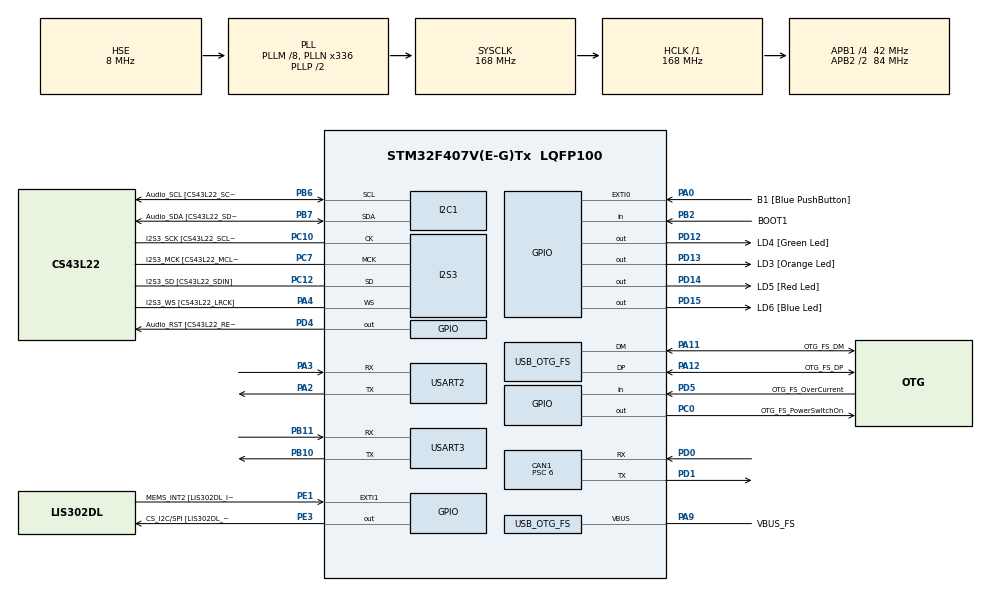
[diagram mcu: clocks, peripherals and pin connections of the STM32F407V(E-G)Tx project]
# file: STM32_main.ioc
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CAN1.BS1=CAN_BS1_11TQ
CAN1.BS2=CAN_BS2_2TQ
CAN1.CalculateBaudRate=500000
CAN1.CalculateTimeBit=2000
CAN1.CalculateTimeQuantum=142.85714285714286
CAN1.Prescaler=6
I2S3.AudioFreq-Half_Duplex_Master=I2S_AUDIOFREQ_96K
I2S3.ErrorAudioFreq=-2.34 %
I2S3.ErrorAudioFreq-Half_Duplex_Master=0.8 %
I2S3.FullDuplexMode=I2S_FULLDUPLEXMODE_DISABLE
I2S3.Instance=SPI$Index
I2S3.RealAudioFreq=93.75 KHz
I2S3.RealAudioFreq-Half_Duplex_Master=96.774 KHz
I2S3.VirtualMode=I2S_MODE_MASTER
Mcu.Family=STM32F4
Mcu.Name=STM32F407V(E-G)Tx
Mcu.Package=LQFP100
NVIC.CAN1_RX0_IRQn=true\:0\:0\:false\:false\:true\:true\:true\:true
NVIC.OTG_FS_IRQn=true\:0\:0\:false\:false\:true\:true\:true\:true
NVIC.PriorityGroup=NVIC_PRIORITYGROUP_0
NVIC.USART3_IRQn=true\:0\:0\:false\:false\:true\:true\:true\:true
PA0-WKUP.GPIO_Label=B1 [Blue PushButton]
PA0-WKUP.GPIO_ModeDefaultEXTI=GPIO_MODE_EVT_RISING
PA0-WKUP.GPIO_PuPd=GPIO_NOPULL
PA0-WKUP.Signal=GPXTI0
PA10.GPIO_Label=OTG_FS_ID
PA10.GPIO_Mode=GPIO_MODE_AF_PP
PA10.GPIO_PuPd=GPIO_NOPULL
PA10.GPIO_Speed=GPIO_SPEED_FREQ_LOW
PA10.Signal=USB_OTG_FS_ID
PA11.GPIO_Label=OTG_FS_DM
PA11.GPIO_Mode=GPIO_MODE_AF_PP
PA11.GPIO_PuPd=GPIO_NOPULL
PA11.GPIO_Speed=GPIO_SPEED_FREQ_LOW
PA11.Mode=Host_Only
PA11.Signal=USB_OTG_FS_DM
PA12.GPIO_Label=OTG_FS_DP
PA12.GPIO_Mode=GPIO_MODE_AF_PP
PA12.GPIO_PuPd=GPIO_NOPULL
PA12.GPIO_Speed=GPIO_SPEED_FREQ_LOW
PA12.Mode=Host_Only
PA12.Signal=USB_OTG_FS_DP
PA13.GPIO_Label=SWDIO
PA13.Mode=Serial_Wire
PA13.Signal=SYS_JTMS-SWDIO
PA14.GPIO_Label=SWCLK
PA14.Mode=Serial_Wire
PA14.Signal=SYS_JTCK-SWCLK
PA2.Mode=Asynchronous
PA2.Signal=USART2_TX
PA3.Mode=Asynchronous
PA3.Signal=USART2_RX
PA4.GPIO_Label=I2S3_WS [CS43L22_LRCK]
PA4.GPIO_Mode=GPIO_MODE_AF_PP
PA4.GPIO_PuPd=GPIO_NOPULL
PA4.GPIO_Speed=GPIO_SPEED_FREQ_LOW
PA4.Mode=Half_Duplex_Master
PA4.Signal=I2S3_WS
PA5.GPIO_Label=SPI1_SCK [LIS302DL_SCL/SPC]
PA5.GPIO_Mode=GPIO_MODE_AF_PP
PA5.GPIO_PuPd=GPIO_NOPULL
PA5.GPIO_Speed=GPIO_SPEED_FREQ_LOW
PA5.Signal=SPI1_SCK
PA6.GPIO_Label=SPI1_MISO [LIS302DL_SDO]
PA6.GPIO_Mode=GPIO_MODE_AF_PP
PA6.GPIO_PuPd=GPIO_NOPULL
PA6.GPIO_Speed=GPIO_SPEED_FREQ_LOW
PA6.Signal=SPI1_MISO
PA7.GPIO_Label=SPI1_MOSI [LIS302DL_SDA/SDI/SDO]
PA7.GPIO_Mode=GPIO_MODE_AF_PP
PA7.GPIO_PuPd=GPIO_NOPULL
PA7.GPIO_Speed=GPIO_SPEED_FREQ_LOW
PA7.Signal=SPI1_MOSI
PA9.GPIO_Label=VBUS_FS
PA9.GPIO_Mode=GPIO_MODE_INPUT
PA9.GPIO_PuPd=GPIO_NOPULL
PA9.Mode=Activate_VBUS
PA9.Signal=USB_OTG_FS_VBUS
PB10.Mode=Asynchronous
PB10.Signal=USART3_TX
PB11.GPIO_PuPd=GPIO_PULLUP
PB11.Mode=Asynchronous
PB11.Signal=USART3_RX
PB2.GPIO_Label=BOOT1
PB2.GPIO_Mode=GPIO_MODE_INPUT
PB2.GPIO_PuPd=GPIO_NOPULL
PB2.Signal=GPIO_Input
PB3.GPIO_Label=SWO
PB3.Signal=SYS_JTDO-SWO
PB6.GPIO_Label=Audio_SCL [CS43L22_SCL]
PB6.GPIO_Mode=GPIO_MODE_AF_OD
PB6.GPIO_Pu=GPIO_PULLUP
PB6.GPIO_PuPd=GPIO_NOPULL
PB6.GPIO_Speed=GPIO_SPEED_FREQ_LOW
PB6.Mode=I2C
PB6.Signal=I2C1_SCL
PB7.GPIO_Label=Audio_SDA [CS43L22_SDA]
PB7.GPIO_Mode=GPIO_MODE_AF_OD
PB7.GPIO_Pu=GPIO_PULLUP
PB7.GPIO_Speed=GPIO_SPEED_FREQ_LOW
PB7.Mode=I2C
PB7.Signal=I2C1_SDA
PC0.GPIO_Label=OTG_FS_PowerSwitchOn
PC0.GPIO_PuPd=GPIO_NOPULL
PC0.GPIO_Speed=GPIO_SPEED_FREQ_LOW
PC0.PinState=GPIO_PIN_SET
PC0.Signal=GPIO_Output
PC10.GPIO_Label=I2S3_SCK [CS43L22_SCLK]
PC10.GPIO_Mode=GPIO_MODE_AF_PP
PC10.GPIO_PuPd=GPIO_NOPULL
PC10.GPIO_Speed=GPIO_SPEED_FREQ_LOW
PC10.Mode=Half_Duplex_Master
PC10.Signal=I2S3_CK
PC12.GPIO_Label=I2S3_SD [CS43L22_SDIN]
PC12.GPIO_Mode=GPIO_MODE_AF_PP
PC12.GPIO_PuPd=GPIO_NOPULL
PC12.GPIO_Speed=GPIO_SPEED_FREQ_LOW
PC12.Mode=Half_Duplex_Master
PC12.Signal=I2S3_SD
PC14-OSC32_IN.GPIO_Label=PC14-OSC32_IN
PC14-OSC32_IN.Mode=LSE-External-Oscillator
PC14-OSC32_IN.Signal=RCC_OSC32_IN
PC15-OSC32_OUT.GPIO_Label=PC15-OSC32_OUT
PC15-OSC32_OUT.Mode=LSE-External-Oscillator
PC15-OSC32_OUT.Signal=RCC_OSC32_OUT
PC3.GPIO_Label=PDM_OUT [MP45DT02_DOUT]
PC3.GPIO_Mode=GPIO_MODE_AF_PP
PC3.GPIO_PuPd=GPIO_NOPULL
PC3.GPIO_Speed=GPIO_SPEED_FREQ_LOW
PC3.Signal=I2S2_SD
PC7.GPIO_Label=I2S3_MCK [CS43L22_MCLK]
PC7.GPIO_Mode=GPIO_MODE_AF_PP
PC7.GPIO_PuPd=GPIO_NOPULL
PC7.GPIO_Speed=GPIO_SPEED_FREQ_LOW
PC7.Mode=Master_Clock_Activated
PC7.Signal=I2S3_MCK
PD0.Mode=CAN_Activate
PD0.Signal=CAN1_RX
PD1.Mode=CAN_Activate
PD1.Signal=CAN1_TX
PD12.GPIO_Label=LD4 [Green Led]
PD12.GPIO_PuPd=GPIO_NOPULL
PD12.GPIO_Speed=GPIO_SPEED_FREQ_LOW
PD12.Signal=GPIO_Output
PD13.GPIO_Label=LD3 [Orange Led]
PD13.GPIO_PuPd=GPIO_NOPULL
PD13.GPIO_Speed=GPIO_SPEED_FREQ_LOW
PD13.Signal=GPIO_Output
PD14.GPIO_Label=LD5 [Red Led]
PD14.GPIO_PuPd=GPIO_NOPULL
PD14.GPIO_Speed=GPIO_SPEED_FREQ_LOW
PD14.Signal=GPIO_Output
PD15.GPIO_Label=LD6 [Blue Led]
PD15.GPIO_PuPd=GPIO_NOPULL
PD15.GPIO_Speed=GPIO_SPEED_FREQ_LOW
PD15.Signal=GPIO_Output
PD4.GPIO_Label=Audio_RST [CS43L22_RESET]
PD4.GPIO_PuPd=GPIO_NOPULL
PD4.GPIO_Speed=GPIO_SPEED_FREQ_LOW
PD4.Signal=GPIO_Output
PD5.GPIO_Label=OTG_FS_OverCurrent
PD5.GPIO_Mode=GPIO_MODE_INPUT
PD5.GPIO_PuPd=GPIO_NOPULL
PD5.Signal=GPIO_Input
PE1.GPIO_Label=MEMS_INT2 [LIS302DL_INT2]
PE1.GPIO_ModeDefaultEXTI=GPIO_MODE_EVT_RISING
PE1.GPIO_PuPd=GPIO_NOPULL
PE1.Signal=GPXTI1
PE3.GPIO_Label=CS_I2C/SPI [LIS302DL_CS_I2C/SPI]
PE3.GPIO_PuPd=GPIO_NOPULL
PE3.GPIO_Speed=GPIO_SPEED_FREQ_LOW
PE3.Signal=GPIO_Output
PH0-OSC_IN.GPIO_Label=PH0-OSC_IN
PH0-OSC_IN.Mode=HSE-External-Oscillator
PH0-OSC_IN.Signal=RCC_OSC_IN
PH1-OSC_OUT.GPIO_Label=PH1-OSC_OUT
PH1-OSC_OUT.Mode=HSE-External-Oscillator
PH1-OSC_OUT.Signal=RCC_OSC_OUT
ProjectManager.HeapSize=0x200
ProjectManager.StackSize=0x400
ProjectManager.TargetToolchain=STM32CubeIDE
RCC.48MHZClocksFreq_Value=48000000
RCC.AHBFreq_Value=168000000
RCC.APB1CLKDivider=RCC_HCLK_DIV4
RCC.APB1Freq_Value=42000000
RCC.APB1TimFreq_Value=84000000
RCC.APB2CLKDivider=RCC_HCLK_DIV2
RCC.APB2Freq_Value=84000000
RCC.APB2TimFreq_Value=168000000
RCC.CortexFreq_Value=168000000
RCC.HCLKFreq_Value=168000000
RCC.HSE_VALUE=8000000
RCC.HSI_VALUE=16000000
RCC.PLLM=8
RCC.PLLN=336
RCC.PLLQ=7
RCC.SYSCLKFreq_VALUE=168000000
RCC.SYSCLKSource=RCC_SYSCLKSOURCE_PLLCLK
RCC.VCOOutputFreq_Value=336000000
USART2.VirtualMode=VM_ASYNC
USART3.VirtualMode=VM_ASYNC
USB_HOST.BSP.number=1
USB_HOST.USBH_HandleTypeDef-CDC_FS=hUsbHostFS
USB_HOST.VirtualModeFS=Cdc
USB_HOST0.BSP.STBoard=false
USB_HOST0.BSP.api=Unknown
USB_HOST0.BSP.instance=PC0
USB_HOST0.BSP.ip=GPIO
USB_HOST0.BSP.mode=Output
USB_HOST0.BSP.name=Drive_VBUS_FS
USB_HOST0.BSP.solution=PC0
USB_OTG_FS.VirtualMode=Host_Only
USB_OTG_FS.phy_itface=HCD_PHY_EMBEDDED
VP_USB_HOST_VS_USB_HOST_CDC_FS.Mode=CDC_FS
board=STM32F407G-DISC1

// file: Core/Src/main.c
/* USER CODE BEGIN Header */
/**
  ******************************************************************************
  * @file           : main.c
  * @brief          : Main program body
  ******************************************************************************
  * @attention
  *
  * Copyright (c) 2025 STMicroelectronics.
  * All rights reserved.
  *
  * This software is licensed under terms that can be found in the LICENSE file
  * in the root directory of this software component.
  * If no LICENSE file comes with this software, it is provided AS-IS.
  *
  ******************************************************************************
  */
/* USER CODE END Header */
#include "main.h"
#include "usb_host.h"

/* USER CODE BEGIN Includes */
#include <stdio.h>
#include <string.h>
#include <stdint.h>
/* USER CODE END Includes */

CAN_HandleTypeDef hcan1;

I2C_HandleTypeDef hi2c1;

I2S_HandleTypeDef hi2s3;

UART_HandleTypeDef huart2;
UART_HandleTypeDef huart3;

void SystemClock_Config(void);
static void MX_GPIO_Init(void);
static void MX_I2C1_Init(void);
static void MX_I2S3_Init(void);
static void MX_CAN1_Init(void);
static void MX_USART2_UART_Init(void);
static void MX_USART3_UART_Init(void);
void MX_USB_HOST_Process(void);

/* USER CODE BEGIN PFP */
static void IMU_SendData(float heading, float roll, float pitch);
static void CAN1_FilterOnly_StdId_FIFO0(uint16_t stdId);
static void CAN1_StartRxInterrupt(void);

static void CAN1_TxInit_LoadingCmd(void);
static void CAN1_SendLoadingCmd(uint8_t cmd, uint8_t arg);

static void UART3_StartRxIT(void);
/* USER CODE END PFP */

/* USER CODE BEGIN 0 */
static CAN_RxHeaderTypeDef rxh;
static uint8_t rxData[8];

volatile float g_roll_deg  = 0.0f;
volatile float g_pitch_deg = 0.0f;
volatile float g_yaw_deg   = 0.0f;
volatile uint8_t g_imu_new = 0;

volatile uint8_t  g_seq = 0;
volatile uint8_t  g_status = 0;
volatile uint32_t g_rx_count = 0;
volatile uint32_t g_seq_miss_count = 0;
volatile uint32_t g_last_rx_ms = 0;

/* UART2 출력 버퍼 */
static char uart_tx_buffer[96];

/* ------------------------- UART3 RX (Raspi -> main) ------------------------- */
static uint8_t  u3_rx_byte;
static char     u3_line_buf[64];
static uint16_t u3_line_len = 0;
volatile uint8_t g_u3_line_ready = 0;
static char     g_u3_line_copy[64];   // main loop에서 안전하게 쓰기 위한 복사본

/* ------------------------- CAN TX (to STM32_loading) ------------------------- */
static CAN_TxHeaderTypeDef txh_load;
static uint8_t txLoadData[8];
static uint32_t txMailbox;

/* ------------------------- Utility: IMU UART Output ------------------------- */
static void IMU_SendData(float heading, float roll, float pitch)
{
    // Raspi에서 파싱하기 쉬운 포맷
    // 예: "H:123.45,R:1.23,P:-4.56\r\n"
    int len = snprintf(uart_tx_buffer, sizeof(uart_tx_buffer),
                       "H:%.2f,R:%.2f,P:%.2f\r\n",
                       heading, roll, pitch);

    if (len <= 0) return;
    if (len > (int)sizeof(uart_tx_buffer)) len = sizeof(uart_tx_buffer);

    // main loop에서만 호출(인터럽트에서 호출하지 않음)
    (void)HAL_UART_Transmit(&huart2, (uint8_t*)uart_tx_buffer, (uint16_t)len, 50);
}

/* ------------------------- CAN Filter: only StdId -> FIFO0 ------------------------- */
static void CAN1_FilterOnly_StdId_FIFO0(uint16_t stdId)
{
    CAN_FilterTypeDef f = {0};

    f.FilterBank = 0;
    f.FilterFIFOAssignment = CAN_FILTER_FIFO0;
    f.FilterActivation = ENABLE;

    // 16-bit IDLIST: 동일 ID를 4슬롯에 넣어 사실상 1개 ID만 허용
    f.FilterMode  = CAN_FILTERMODE_IDLIST;
    f.FilterScale = CAN_FILTERSCALE_16BIT;

    uint16_t id = (uint16_t)(stdId << 5);
    f.FilterIdHigh      = id;
    f.FilterIdLow       = id;
    f.FilterMaskIdHigh  = id;
    f.FilterMaskIdLow   = id;

    f.SlaveStartFilterBank = 14;

    if (HAL_CAN_ConfigFilter(&hcan1, &f) != HAL_OK) Error_Handler();
}

static void CAN1_StartRxInterrupt(void)
{
    if (HAL_CAN_Start(&hcan1) != HAL_OK) Error_Handler();

    // RX FIFO0 pending interrupt enable (callback 패턴)
    // 이 패턴이 HAL에서 흔히 쓰는 방식임 :contentReference[oaicite:2]{index=2}
    if (HAL_CAN_ActivateNotification(&hcan1, CAN_IT_RX_FIFO0_MSG_PENDING) != HAL_OK)
        Error_Handler();
}

/* ------------------------- CAN TX to loading board ------------------------- */
static void CAN1_TxInit_LoadingCmd(void)
{
    txh_load.StdId = 0x201;      // <-- loading command ID (원하면 변경)
    txh_load.IDE   = CAN_ID_STD;
    txh_load.RTR   = CAN_RTR_DATA;
    txh_load.DLC   = 2;

    memset(txLoadData, 0, sizeof(txLoadData));
}

static void CAN1_SendLoadingCmd(uint8_t cmd, uint8_t arg)
{
    txLoadData[0] = cmd;
    txLoadData[1] = arg;

    if (HAL_CAN_GetTxMailboxesFreeLevel(&hcan1) == 0) {
        // TX 밀림 표시(선택): LD5 토글
        HAL_GPIO_TogglePin(GPIOD, LD5_Pin);
        return;
    }

    if (HAL_CAN_AddTxMessage(&hcan1, &txh_load, txLoadData, &txMailbox) != HAL_OK) {
        // TX 실패 표시(선택): LD5 ON
        HAL_GPIO_WritePin(GPIOD, LD5_Pin, GPIO_PIN_SET);
    }
}

/* ------------------------- UART3 RX Start ------------------------- */
static void UART3_StartRxIT(void)
{
    u3_line_len = 0;
    g_u3_line_ready = 0;
    memset(u3_line_buf, 0, sizeof(u3_line_buf));
    memset(g_u3_line_copy, 0, sizeof(g_u3_line_copy));

    (void)HAL_UART_Receive_IT(&huart3, &u3_rx_byte, 1);
}

/* USER CODE END 0 */

int main(void)
{

  /* MCU Configuration--------------------------------------------------------*/

  /* Reset of all peripherals, Initializes the Flash interface and the Systick. */
  HAL_Init();

  /* Configure the system clock */
  SystemClock_Config();

  /* Initialize all configured peripherals */
  MX_GPIO_Init();
  MX_I2C1_Init();
  MX_I2S3_Init();
  MX_USB_HOST_Init();
  MX_CAN1_Init();
  MX_USART2_UART_Init();
  MX_USART3_UART_Init();
  /* USER CODE BEGIN 2 */
  // 1) CAN 수신(IMU) 준비
  CAN1_FilterOnly_StdId_FIFO0(0x103);
  CAN1_StartRxInterrupt();

  // 2) CAN 송신(loading cmd) 준비
  CAN1_TxInit_LoadingCmd();

  // 3) UART3 수신(라즈베리파이 명령) 시작
  UART3_StartRxIT();
  /* USER CODE END 2 */

  /* Infinite loop */
  while (1)
  {
    MX_USB_HOST_Process();

    /* USER CODE BEGIN 3 */
    // --- 에러 복구 및 강제 재시작 코드 ---
	if (__HAL_UART_GET_FLAG(&huart3, UART_FLAG_ORE) || __HAL_UART_GET_FLAG(&huart3, UART_FLAG_NE)) {
		__HAL_UART_CLEAR_OREFLAG(&huart3);
		__HAL_UART_CLEAR_NEFLAG(&huart3);
		HAL_UART_Receive_IT(&huart3, &u3_rx_byte, 1);
		HAL_GPIO_TogglePin(GPIOD, LD5_Pin); // 에러 발생 시 빨간불 토글
	}

	// 수신 상태가 준비 완료(Ready)인데 인터럽트가 안 걸려 있다면 다시 걸어줌
	if (huart3.RxState == HAL_UART_STATE_READY) {
		HAL_UART_Receive_IT(&huart3, &u3_rx_byte, 1);
	}
	// ----------------------------------
    /* (A) IMU 데이터 출력 */
	if (g_imu_new) {
		g_imu_new = 0;
		IMU_SendData(g_yaw_deg, g_roll_deg, g_pitch_deg);
	}

	/* (B) 라즈베리파이 명령 처리 및 전송 */
	if (g_u3_line_ready) {
		g_u3_line_ready = 0;
		unsigned int cmd = 999;
		if (sscanf(g_u3_line_copy, "%u", &cmd) == 1) {
			if (cmd <= 2) { // 0, 1, 2 명령 처리
				CAN1_SendLoadingCmd((uint8_t)cmd, 0);
				HAL_GPIO_TogglePin(GPIOD, LD4_Pin); // 성공 시 녹색 토글
			}
		}
	}

	/* (C) 상태 체크 LED (빨간불 관리) */
	static uint32_t t_prev = 0;
	uint32_t now = HAL_GetTick();
	if ((now - t_prev) >= 200) {
		t_prev = now;
		if ((now - g_last_rx_ms) > 300) {
			HAL_GPIO_WritePin(GPIOD, LD5_Pin, GPIO_PIN_SET); // IMU 없으면 빨간불
		} else {
			HAL_GPIO_WritePin(GPIOD, LD5_Pin, GPIO_PIN_RESET);
		}
	}
  }
  /* USER CODE END 3 */
}

void SystemClock_Config(void)
{
  RCC_OscInitTypeDef RCC_OscInitStruct = {0};
  RCC_ClkInitTypeDef RCC_ClkInitStruct = {0};

  /** Configure the main internal regulator output voltage
  */
  __HAL_RCC_PWR_CLK_ENABLE();
  __HAL_PWR_VOLTAGESCALING_CONFIG(PWR_REGULATOR_VOLTAGE_SCALE1);

  /** Initializes the RCC Oscillators according to the specified parameters
  * in the RCC_OscInitTypeDef structure.
  */
  RCC_OscInitStruct.OscillatorType = RCC_OSCILLATORTYPE_HSE;
  RCC_OscInitStruct.HSEState = RCC_HSE_ON;
  RCC_OscInitStruct.PLL.PLLState = RCC_PLL_ON;
  RCC_OscInitStruct.PLL.PLLSource = RCC_PLLSOURCE_HSE;
  RCC_OscInitStruct.PLL.PLLM = 8;
  RCC_OscInitStruct.PLL.PLLN = 336;
  RCC_OscInitStruct.PLL.PLLP = RCC_PLLP_DIV2;
  RCC_OscInitStruct.PLL.PLLQ = 7;
  if (HAL_RCC_OscConfig(&RCC_OscInitStruct) != HAL_OK)
  {
    Error_Handler();
  }

  /** Initializes the CPU, AHB and APB buses clocks
  */
  RCC_ClkInitStruct.ClockType = RCC_CLOCKTYPE_HCLK|RCC_CLOCKTYPE_SYSCLK
                              |RCC_CLOCKTYPE_PCLK1|RCC_CLOCKTYPE_PCLK2;
  RCC_ClkInitStruct.SYSCLKSource = RCC_SYSCLKSOURCE_PLLCLK;
  RCC_ClkInitStruct.AHBCLKDivider = RCC_SYSCLK_DIV1;
  RCC_ClkInitStruct.APB1CLKDivider = RCC_HCLK_DIV4;
  RCC_ClkInitStruct.APB2CLKDivider = RCC_HCLK_DIV2;

  if (HAL_RCC_ClockConfig(&RCC_ClkInitStruct, FLASH_LATENCY_5) != HAL_OK)
  {
    Error_Handler();
  }
}

static void MX_CAN1_Init(void)
{

  hcan1.Instance = CAN1;
  hcan1.Init.Prescaler = 6;
  hcan1.Init.Mode = CAN_MODE_NORMAL;
  hcan1.Init.SyncJumpWidth = CAN_SJW_1TQ;
  hcan1.Init.TimeSeg1 = CAN_BS1_11TQ;
  hcan1.Init.TimeSeg2 = CAN_BS2_2TQ;
  hcan1.Init.TimeTriggeredMode = DISABLE;
  hcan1.Init.AutoBusOff = DISABLE;
  hcan1.Init.AutoWakeUp = DISABLE;
  hcan1.Init.AutoRetransmission = DISABLE;
  hcan1.Init.ReceiveFifoLocked = DISABLE;
  hcan1.Init.TransmitFifoPriority = DISABLE;
  if (HAL_CAN_Init(&hcan1) != HAL_OK)
  {
    Error_Handler();
  }

}

static void MX_I2C1_Init(void)
{

  hi2c1.Instance = I2C1;
  hi2c1.Init.ClockSpeed = 100000;
  hi2c1.Init.DutyCycle = I2C_DUTYCYCLE_2;
  hi2c1.Init.OwnAddress1 = 0;
  hi2c1.Init.AddressingMode = I2C_ADDRESSINGMODE_7BIT;
  hi2c1.Init.DualAddressMode = I2C_DUALADDRESS_DISABLE;
  hi2c1.Init.OwnAddress2 = 0;
  hi2c1.Init.GeneralCallMode = I2C_GENERALCALL_DISABLE;
  hi2c1.Init.NoStretchMode = I2C_NOSTRETCH_DISABLE;
  if (HAL_I2C_Init(&hi2c1) != HAL_OK)
  {
    Error_Handler();
  }

}

static void MX_I2S3_Init(void)
{

  hi2s3.Instance = SPI3;
  hi2s3.Init.Mode = I2S_MODE_MASTER_TX;
  hi2s3.Init.Standard = I2S_STANDARD_PHILIPS;
  hi2s3.Init.DataFormat = I2S_DATAFORMAT_16B;
  hi2s3.Init.MCLKOutput = I2S_MCLKOUTPUT_ENABLE;
  hi2s3.Init.AudioFreq = I2S_AUDIOFREQ_96K;
  hi2s3.Init.CPOL = I2S_CPOL_LOW;
  hi2s3.Init.ClockSource = I2S_CLOCK_PLL;
  hi2s3.Init.FullDuplexMode = I2S_FULLDUPLEXMODE_DISABLE;
  if (HAL_I2S_Init(&hi2s3) != HAL_OK)
  {
    Error_Handler();
  }

}

static void MX_USART2_UART_Init(void)
{

  huart2.Instance = USART2;
  huart2.Init.BaudRate = 115200;
  huart2.Init.WordLength = UART_WORDLENGTH_8B;
  huart2.Init.StopBits = UART_STOPBITS_1;
  huart2.Init.Parity = UART_PARITY_NONE;
  huart2.Init.Mode = UART_MODE_TX_RX;
  huart2.Init.HwFlowCtl = UART_HWCONTROL_NONE;
  huart2.Init.OverSampling = UART_OVERSAMPLING_16;
  if (HAL_UART_Init(&huart2) != HAL_OK)
  {
    Error_Handler();
  }

}

static void MX_USART3_UART_Init(void)
{

  huart3.Instance = USART3;
  huart3.Init.BaudRate = 115200;
  huart3.Init.WordLength = UART_WORDLENGTH_8B;
  huart3.Init.StopBits = UART_STOPBITS_1;
  huart3.Init.Parity = UART_PARITY_NONE;
  huart3.Init.Mode = UART_MODE_TX_RX;
  huart3.Init.HwFlowCtl = UART_HWCONTROL_NONE;
  huart3.Init.OverSampling = UART_OVERSAMPLING_16;
  if (HAL_UART_Init(&huart3) != HAL_OK)
  {
    Error_Handler();
  }

}

static void MX_GPIO_Init(void)
{
  GPIO_InitTypeDef GPIO_InitStruct = {0};

  /* GPIO Ports Clock Enable */
  __HAL_RCC_GPIOE_CLK_ENABLE();
  __HAL_RCC_GPIOC_CLK_ENABLE();
  __HAL_RCC_GPIOH_CLK_ENABLE();
  __HAL_RCC_GPIOA_CLK_ENABLE();
  __HAL_RCC_GPIOB_CLK_ENABLE();
  __HAL_RCC_GPIOD_CLK_ENABLE();

  /*Configure GPIO pin Output Level */
  HAL_GPIO_WritePin(CS_I2C_SPI_GPIO_Port, CS_I2C_SPI_Pin, GPIO_PIN_RESET);

  /*Configure GPIO pin Output Level */
  HAL_GPIO_WritePin(OTG_FS_PowerSwitchOn_GPIO_Port, OTG_FS_PowerSwitchOn_Pin, GPIO_PIN_SET);

  /*Configure GPIO pin Output Level */
  HAL_GPIO_WritePin(GPIOD, LD4_Pin|LD3_Pin|LD5_Pin|LD6_Pin
                          |Audio_RST_Pin, GPIO_PIN_RESET);

  /*Configure GPIO pin : CS_I2C_SPI_Pin */
  GPIO_InitStruct.Pin = CS_I2C_SPI_Pin;
  GPIO_InitStruct.Mode = GPIO_MODE_OUTPUT_PP;
  GPIO_InitStruct.Pull = GPIO_NOPULL;
  GPIO_InitStruct.Speed = GPIO_SPEED_FREQ_LOW;
  HAL_GPIO_Init(CS_I2C_SPI_GPIO_Port, &GPIO_InitStruct);

  /*Configure GPIO pin : OTG_FS_PowerSwitchOn_Pin */
  GPIO_InitStruct.Pin = OTG_FS_PowerSwitchOn_Pin;
  GPIO_InitStruct.Mode = GPIO_MODE_OUTPUT_PP;
  GPIO_InitStruct.Pull = GPIO_NOPULL;
  GPIO_InitStruct.Speed = GPIO_SPEED_FREQ_LOW;
  HAL_GPIO_Init(OTG_FS_PowerSwitchOn_GPIO_Port, &GPIO_InitStruct);

  /*Configure GPIO pin : PDM_OUT_Pin */
  GPIO_InitStruct.Pin = PDM_OUT_Pin;
  GPIO_InitStruct.Mode = GPIO_MODE_AF_PP;
  GPIO_InitStruct.Pull = GPIO_NOPULL;
  GPIO_InitStruct.Speed = GPIO_SPEED_FREQ_LOW;
  GPIO_InitStruct.Alternate = GPIO_AF5_SPI2;
  HAL_GPIO_Init(PDM_OUT_GPIO_Port, &GPIO_InitStruct);

  /*Configure GPIO pin : B1_Pin */
  GPIO_InitStruct.Pin = B1_Pin;
  GPIO_InitStruct.Mode = GPIO_MODE_EVT_RISING;
  GPIO_InitStruct.Pull = GPIO_NOPULL;
  HAL_GPIO_Init(B1_GPIO_Port, &GPIO_InitStruct);

  /*Configure GPIO pins : SPI1_SCK_Pin SPI1_MISO_Pin SPI1_MOSI_Pin */
  GPIO_InitStruct.Pin = SPI1_SCK_Pin|SPI1_MISO_Pin|SPI1_MOSI_Pin;
  GPIO_InitStruct.Mode = GPIO_MODE_AF_PP;
  GPIO_InitStruct.Pull = GPIO_NOPULL;
  GPIO_InitStruct.Speed = GPIO_SPEED_FREQ_LOW;
  GPIO_InitStruct.Alternate = GPIO_AF5_SPI1;
  HAL_GPIO_Init(GPIOA, &GPIO_InitStruct);

  /*Configure GPIO pin : BOOT1_Pin */
  GPIO_InitStruct.Pin = BOOT1_Pin;
  GPIO_InitStruct.Mode = GPIO_MODE_INPUT;
  GPIO_InitStruct.Pull = GPIO_NOPULL;
  HAL_GPIO_Init(BOOT1_GPIO_Port, &GPIO_InitStruct);

  /*Configure GPIO pins : LD4_Pin LD3_Pin LD5_Pin LD6_Pin
                           Audio_RST_Pin */
  GPIO_InitStruct.Pin = LD4_Pin|LD3_Pin|LD5_Pin|LD6_Pin
                          |Audio_RST_Pin;
  GPIO_InitStruct.Mode = GPIO_MODE_OUTPUT_PP;
  GPIO_InitStruct.Pull = GPIO_NOPULL;
  GPIO_InitStruct.Speed = GPIO_SPEED_FREQ_LOW;
  HAL_GPIO_Init(GPIOD, &GPIO_InitStruct);

  /*Configure GPIO pin : OTG_FS_OverCurrent_Pin */
  GPIO_InitStruct.Pin = OTG_FS_OverCurrent_Pin;
  GPIO_InitStruct.Mode = GPIO_MODE_INPUT;
  GPIO_InitStruct.Pull = GPIO_NOPULL;
  HAL_GPIO_Init(OTG_FS_OverCurrent_GPIO_Port, &GPIO_InitStruct);

  /*Configure GPIO pin : MEMS_INT2_Pin */
  GPIO_InitStruct.Pin = MEMS_INT2_Pin;
  GPIO_InitStruct.Mode = GPIO_MODE_EVT_RISING;
  GPIO_InitStruct.Pull = GPIO_NOPULL;
  HAL_GPIO_Init(MEMS_INT2_GPIO_Port, &GPIO_InitStruct);

}

/* USER CODE BEGIN 4 */
/* ------------------------- CAN RX Callback ------------------------- */
void HAL_CAN_RxFifo0MsgPendingCallback(CAN_HandleTypeDef *hcan)
{
    if (hcan->Instance != CAN1) return;

    if (HAL_CAN_GetRxMessage(hcan, CAN_RX_FIFO0, &rxh, rxData) != HAL_OK)
        return;

    if (rxh.IDE != CAN_ID_STD) return;
    if (rxh.StdId != 0x103) return;
    if (rxh.DLC < 8) return;

    // [MSB,LSB] 조립
    int16_t roll_cdeg  = (int16_t)((rxData[0] << 8) | rxData[1]);
    int16_t pitch_cdeg = (int16_t)((rxData[2] << 8) | rxData[3]);
    int16_t yaw_cdeg   = (int16_t)((rxData[4] << 8) | rxData[5]);

    g_roll_deg  = roll_cdeg  / 100.0f;
    g_pitch_deg = pitch_cdeg / 100.0f;
    g_yaw_deg   = yaw_cdeg   / 100.0f;

    uint8_t seq    = rxData[6];
    uint8_t status = rxData[7];

    g_seq = seq;
    g_status = status;
    g_rx_count++;
    g_last_rx_ms = HAL_GetTick();

    static uint8_t last_seq = 0;
    uint8_t expected = (uint8_t)(last_seq + 1);
    if (g_rx_count > 1 && seq != expected) {
        g_seq_miss_count++;
    }
    last_seq = seq;

    // ISR에서는 플래그만 세움 (UART 전송은 main loop에서)
    g_imu_new = 1;

    // (선택) 수신 살아있음 표시: 100프레임마다 블루 토글
    if ((seq % 100) == 0) {
        HAL_GPIO_TogglePin(GPIOD, LD6_Pin);
    }
}

/* ------------------------- UART RX Complete Callback ------------------------- */
void HAL_UART_RxCpltCallback(UART_HandleTypeDef *huart)
{
    if (huart->Instance == USART3)
    {
    	HAL_GPIO_TogglePin(GPIOD, LD3_Pin);
        // 1바이트 수신 -> 라인 버퍼에 누적
        char c = (char)u3_rx_byte;

        if (c == '\r') {
            // ignore
        } else if (c == '\n') {
            // 라인 완성
            if (u3_line_len > 0) {
                u3_line_buf[u3_line_len] = '\0';
                // main loop에서 쓸 복사본 생성
                strncpy(g_u3_line_copy, u3_line_buf, sizeof(g_u3_line_copy) - 1);
                g_u3_line_copy[sizeof(g_u3_line_copy) - 1] = '\0';
                g_u3_line_ready = 1;
            }
            // 버퍼 리셋
            u3_line_len = 0;
            memset(u3_line_buf, 0, sizeof(u3_line_buf));
        } else {
            if (u3_line_len < (sizeof(u3_line_buf) - 1)) {
                u3_line_buf[u3_line_len++] = c;
            } else {
                // overflow -> 리셋
                u3_line_len = 0;
                memset(u3_line_buf, 0, sizeof(u3_line_buf));
            }
        }

        // 다음 바이트 수신 재개
        // (UART RX 콜백은 인터럽트 컨텍스트이므로 오래 걸리면 안 됨)
        // 블로킹 transmit 같은 건 피하는 게 좋음 :contentReference[oaicite:3]{index=3}
        (void)HAL_UART_Receive_IT(&huart3, &u3_rx_byte, 1);
    }
}
/* USER CODE END 4 */

void Error_Handler(void)
{
  __disable_irq();
  while (1)
  {
  }
}
